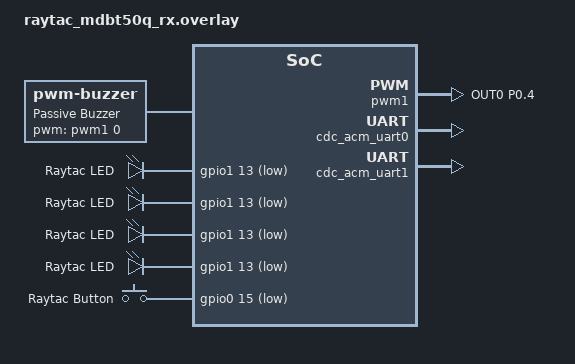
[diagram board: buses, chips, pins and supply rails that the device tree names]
/*
 * Raytac MDBT50Q-RX overlay for MouthPad^USB
 * Hardware: Raytac MDBT50Q-RX with Adafruit nRF52 Bootloader
 *
 * Bootloader: Adafruit nRF52 UF2 bootloader at 0x0-0x1000
 * USB Drive: Shows as "MDBT50QBOOT" when in bootloader mode (reset button)
 *
 * NOTE: Uses no-SoftDevice memory layout (code starts at 0x1000)
 *       App runs Zephyr BLE controller (no actual SoftDevice binary)
 *
 * Raytac MDBT50Q-RX pin assignments (from Adafruit bootloader):
 *   LED: P1.13 (single LED, active low)
 *   Button: P0.15 (active low with pullup)
 */

&pinctrl {
	pwm1_default: pwm1_default {
		group1 {
			psels = <NRF_PSEL(PWM_OUT0, 0, 4)>;
		};
	};

	pwm1_sleep: pwm1_sleep {
		group1 {
			psels = <NRF_PSEL(PWM_OUT0, 0, 4)>;
			low-power-enable;
		};
	};
};

&pwm1 {
	status = "okay";
	pinctrl-0 = <&pwm1_default>;
	pinctrl-1 = <&pwm1_sleep>;
	pinctrl-names = "default", "sleep";
};

/* Raytac single LED on P1.13 - remap all LED nodes */
&led0_green {
	gpios = <&gpio1 13 GPIO_ACTIVE_LOW>;
	label = "Raytac LED";
};

&led1_red {
	gpios = <&gpio1 13 GPIO_ACTIVE_LOW>;
	label = "Raytac LED";
};

&led1_green {
	gpios = <&gpio1 13 GPIO_ACTIVE_LOW>;
	label = "Raytac LED";
};

&led1_blue {
	gpios = <&gpio1 13 GPIO_ACTIVE_LOW>;
	label = "Raytac LED";
};

/* Override button to match Raytac pinout (P0.15) */
&button0 {
	gpios = <&gpio0 15 (GPIO_PULL_UP | GPIO_ACTIVE_LOW)>;
	label = "Raytac Button";
};

/ {
	chosen {
		nordic,nus-uart = &cdc_acm_uart0;
		zephyr,console = &cdc_acm_uart1;
		zephyr,shell-uart = &cdc_acm_uart1;
	};

	aliases {
		buzzer-pwm = &pwm1;
		/* Raytac single LED - map all color channels to P1.13 */
		led0 = &led0_green;  /* RED → P1.13 */
		led1 = &led0_green;  /* GREEN → P1.13 */
		led2 = &led0_green;  /* BLUE → P1.13 */
	};

	hid_dev_0: hid_dev_0 {
		compatible = "zephyr,hid-device";
		label = "MouthPad^HID";
		protocol-code = "mouse";
		in-report-size = <64>;
		in-polling-period-us = <1000>;
	};

	buzzer {
		compatible = "pwm-buzzer";
		pwms = <&pwm1 0 1000000 PWM_POLARITY_NORMAL>;
		label = "Passive Buzzer";
	};
};

/* Disable board's default CDC node */
&board_cdc_acm_uart {
	status = "disabled";
};

/* Add dual CDC ACM nodes */
&zephyr_udc0 {
	cdc_acm_uart0: cdc_acm_uart0 {
		compatible = "zephyr,cdc-acm-uart";
		label = "CDC_ACM_0";
	};

	cdc_acm_uart1: cdc_acm_uart1 {
		compatible = "zephyr,cdc-acm-uart";
		label = "CDC_ACM_1";
	};
};

/* Override default partitions for Adafruit bootloader (no SoftDevice) */
/delete-node/ &boot_partition;
/delete-node/ &slot0_partition;
/delete-node/ &slot1_partition;
/delete-node/ &storage_partition;

&flash0 {
	partitions {
		compatible = "fixed-partitions";
		#address-cells = <1>;
		#size-cells = <1>;

		/* Adafruit bootloader resides at 0x0-0x1000 */
		boot_partition: partition@0 {
			label = "adafruit_boot";
			reg = <0x00000000 0x00001000>;
		};

		/* Application code starts immediately after bootloader (no SoftDevice) */
		code_partition: partition@1000 {
			label = "code_partition";
			reg = <0x00001000 0x000ed000>;
		};

		/*
		 * MBR params page (0xfe000) must not be included in our partitions
		 * Storage ends before MBR params
		 */
		storage_partition: partition@ee000 {
			label = "storage";
			reg = <0x000ee000 0x00010000>;
		};
	};
};

/ {
	chosen {
		zephyr,code-partition = &code_partition;
		zephyr,settings-partition = &storage_partition;
	};
};
